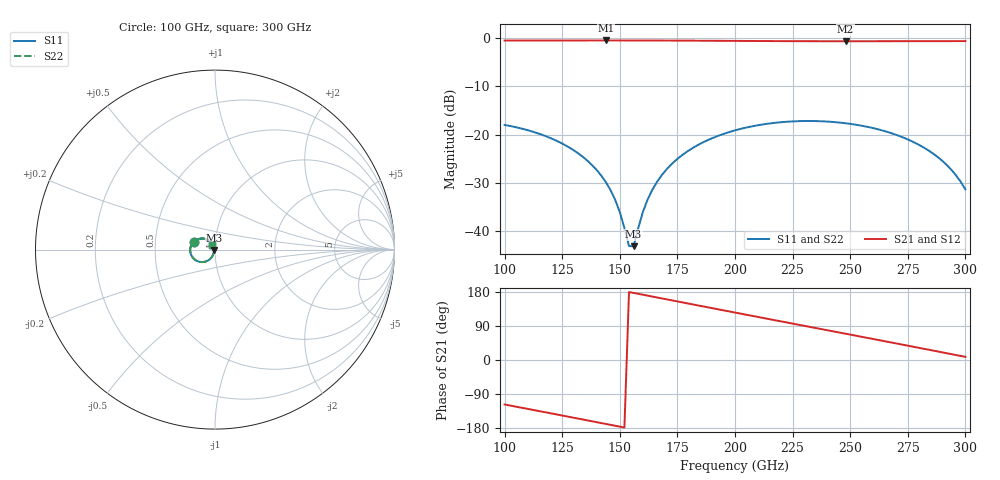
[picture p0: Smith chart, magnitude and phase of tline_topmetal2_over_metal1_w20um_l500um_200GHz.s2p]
#  GHZ S DB R 50
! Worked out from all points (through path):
!   101 points, 100 GHz to 300 GHz, reference 50 ohm
!   highest |S21| = -0.41 dB at 144 GHz (marker M1); lowest = -0.6 dB at 248 GHz (marker M2)
!   group delay of S21, straight-line fit = 3.25 ps
!   lowest |S11| = -43.3 dB at 156 GHz (marker M3), VSWR 1.01, Z = 49.4 - j0.305 ohm
!   |S11| at or under -10 dB: start of sweep to end of sweep
!   |S22| runs from -42.9 to -17.2 dB; largest |S21 - S12| = 1.1e-14
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100  -18.01 161.1  -0.43 -117.4  -0.43 -117.4  -18.01 161.3
120  -20.76 138.6  -0.42 -140.7  -0.42 -140.7  -20.76 138.8
134  -24.67 124.4  -0.41 -157.1  -0.41 -157.1  -24.66 124.7
144  -29.97 117.8  -0.41 -168.8  -0.41 -168.8  -29.94 118.4
148  -33.61 119.2  -0.41 -173.5  -0.41 -173.5  -33.56 120.0
150  -36.16 123.1  -0.41 -175.9  -0.41 -175.9  -36.07 124.2
154  -43.25 160.0  -0.41 179.4  -0.41 179.4  -42.86 161.0
156  -43.26 -153.3  -0.42 177.0  -0.42 177.0  -42.89 -154.5
160  -36.17 -116.2  -0.42 172.3  -0.42 172.3  -36.10 -117.3
162  -33.62 -112.2  -0.42 169.9  -0.42 169.9  -33.59 -113.1
168  -28.61 -111.5  -0.43 162.8  -0.43 162.8  -28.59 -112.0
174  -25.50 -115.6  -0.44 155.8  -0.44 155.8  -25.49 -115.9
182  -22.71 -123.0  -0.46 146.3  -0.46 146.3  -22.71 -123.3
200  -19.14 -142.2  -0.50 125.2  -0.50 125.2  -19.14 -142.3
218  -17.53 -162.1  -0.55 104.2  -0.55 104.2  -17.53 -162.1
234  -17.20 -179.8  -0.57 85.6  -0.57 85.6  -17.19 -179.9
248  -17.66 164.8  -0.58 69.3  -0.58 69.3  -17.65 164.7
268  -19.74 143.2  -0.57 46.0  -0.57 46.0  -19.74 143.2
278  -21.69 133.1  -0.56 34.3  -0.56 34.3  -21.69 133.1
288  -24.70 124.3  -0.55 22.5  -0.55 22.5  -24.69 124.3
294  -27.40 120.7  -0.55 15.4  -0.55 15.4  -27.39 120.8
300  -31.43 121.5  -0.55 8.3  -0.55 8.3  -31.42 121.5
